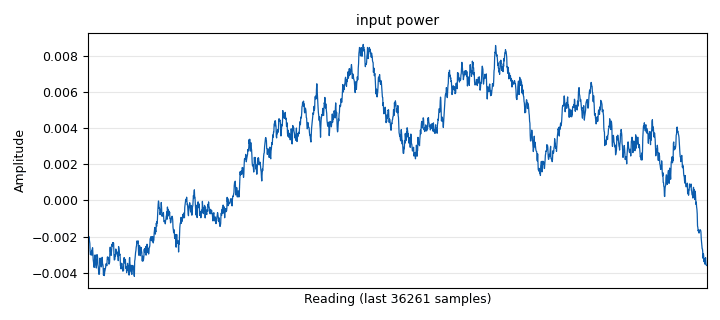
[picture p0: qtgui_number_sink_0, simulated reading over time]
<?xml version='1.0' encoding='utf-8'?>
<?grc format='1' created='3.7.12'?>
<flow_graph>
<block>
<key>options</key>
<param><key>id</key><value>test_filter_gain</value></param>
<param><key>author</key><value>Felix Wunsch</value></param>
<param><key>generate_options</key><value>qt_gui</value></param>
</block>
<block>
<key>variable</key>
<param><key>id</key><value>c_data_nrz</value></param>
<param><key>value</key><value>lpwan.dsss_codes().generate_gold_code_f(data_seed, SF)</value></param>
</block>
<block>
<key>variable</key>
<param><key>id</key><value>c_data_nrz_upsampled</value></param>
<param><key>value</key><value>[c if i==0 else 0 for c in c_data_nrz for i in range(sps)]</value></param>
</block>
<block>
<key>variable</key>
<param><key>id</key><value>c_data_shaped</value></param>
<param><key>value</key><value>np.convolve(c_data_nrz_upsampled, pulse_normalized) / np.sqrt(SF)</value></param>
</block>
<block>
<key>variable_qtgui_range</key>
<param><key>id</key><value>input_power_dB</value></param>
<param><key>value</key><value>0</value></param>
<param><key>orient</key><value>Qt.Horizontal</value></param>
<param><key>start</key><value>-10</value></param>
<param><key>step</key><value>1</value></param>
<param><key>stop</key><value>20</value></param>
</block>
<block>
<key>variable_rrc_filter_taps</key>
<param><key>id</key><value>pulse</value></param>
<param><key>alpha</key><value>1.0</value></param>
<param><key>gain</key><value>1</value></param>
<param><key>ntaps</key><value>11 * sps</value></param>
<param><key>samp_rate</key><value>sps</value></param>
<param><key>sym_rate</key><value>1</value></param>
</block>
<block>
<key>variable</key>
<param><key>id</key><value>pulse_normalized</value></param>
<param><key>value</key><value>pulse / np.sqrt(pulse_power)</value></param>
</block>
<block>
<key>variable</key>
<param><key>id</key><value>pulse_power</value></param>
<param><key>value</key><value>np.sum(np.abs(pulse)**2)</value></param>
</block>
<block>
<key>variable</key>
<param><key>id</key><value>samp_rate</value></param>
<param><key>_enabled</key><value>0</value></param>
<param><key>value</key><value>32000</value></param>
</block>
<block>
<key>variable</key>
<param><key>id</key><value>shr</value></param>
<param><key>comment</key><value>4 byte preamble, no SFD</value></param>
<param><key>value</key><value>lpwan.dsss_const.preamble32</value></param>
</block>
<block>
<key>variable_qtgui_range</key>
<param><key>id</key><value>sps</value></param>
<param><key>value</key><value>4</value></param>
<param><key>orient</key><value>Qt.Horizontal</value></param>
<param><key>start</key><value>1</value></param>
<param><key>step</key><value>1</value></param>
<param><key>stop</key><value>32</value></param>
<param><key>rangeType</key><value>int</value></param>
</block>
<block>
<key>variable_qtgui_range</key>
<param><key>id</key><value>threshold_offset_dB</value></param>
<param><key>value</key><value>0</value></param>
<param><key>orient</key><value>Qt.Horizontal</value></param>
<param><key>start</key><value>-10</value></param>
<param><key>step</key><value>1</value></param>
<param><key>stop</key><value>20</value></param>
</block>
<block>
<key>parameter</key>
<param><key>id</key><value>SF</value></param>
<param><key>label</key><value>spreading factor</value></param>
<param><key>short_id</key><value>s</value></param>
<param><key>type</key><value>intx</value></param>
<param><key>value</key><value>2**8</value></param>
</block>
<block>
<key>analog_const_source_x</key>
<param><key>id</key><value>analog_const_source_x_0</value></param>
<param><key>const</key><value>10**(input_power_dB/10)</value></param>
<param><key>type</key><value>float</value></param>
</block>
<block>
<key>analog_noise_source_x</key>
<param><key>id</key><value>analog_noise_source_x_0</value></param>
<param><key>amp</key><value>10**(input_power_dB/20)</value></param>
<param><key>noise_type</key><value>analog.GR_GAUSSIAN</value></param>
<param><key>type</key><value>complex</value></param>
<param><key>seed</key><value>0</value></param>
</block>
<block>
<key>blocks_complex_to_mag</key>
<param><key>id</key><value>blocks_complex_to_mag_0</value></param>
</block>
<block>
<key>blocks_complex_to_mag_squared</key>
<param><key>id</key><value>blocks_complex_to_mag_squared_0</value></param>
</block>
<block>
<key>blocks_complex_to_mag_squared</key>
<param><key>id</key><value>blocks_complex_to_mag_squared_0_0</value></param>
<param><key>_enabled</key><value>0</value></param>
</block>
<block>
<key>blocks_complex_to_mag_squared</key>
<param><key>id</key><value>blocks_complex_to_mag_squared_0_0_0</value></param>
</block>
<block>
<key>blocks_file_sink</key>
<param><key>id</key><value>blocks_file_sink_0</value></param>
<param><key>_enabled</key><value>0</value></param>
<param><key>file</key><value>/home/wunsch/code/gr-lpwan/examples/SpaRSe/preamble_correlation.bin</value></param>
<param><key>type</key><value>float</value></param>
<param><key>unbuffered</key><value>True</value></param>
</block>
<block>
<key>blocks_file_sink</key>
<param><key>id</key><value>blocks_file_sink_0_0</value></param>
<param><key>_enabled</key><value>0</value></param>
<param><key>file</key><value>/home/wunsch/code/gr-lpwan/examples/SpaRSe/demod_softbits.bin</value></param>
<param><key>type</key><value>float</value></param>
<param><key>unbuffered</key><value>True</value></param>
</block>
<block>
<key>blocks_file_sink</key>
<param><key>id</key><value>blocks_file_sink_0_1</value></param>
<param><key>_enabled</key><value>0</value></param>
<param><key>file</key><value>/home/wunsch/code/gr-lpwan/examples/SpaRSe/despreading_filter.bin</value></param>
<param><key>type</key><value>complex</value></param>
<param><key>unbuffered</key><value>True</value></param>
</block>
<block>
<key>blocks_head</key>
<param><key>id</key><value>blocks_head_0</value></param>
<param><key>_enabled</key><value>0</value></param>
<param><key>num_items</key><value>1000000</value></param>
<param><key>type</key><value>float</value></param>
</block>
<block>
<key>blocks_head</key>
<param><key>id</key><value>blocks_head_0_0</value></param>
<param><key>_enabled</key><value>0</value></param>
<param><key>num_items</key><value>1000000</value></param>
<param><key>type</key><value>float</value></param>
</block>
<block>
<key>blocks_head</key>
<param><key>id</key><value>blocks_head_0_1</value></param>
<param><key>_enabled</key><value>0</value></param>
<param><key>num_items</key><value>1000000</value></param>
<param><key>type</key><value>complex</value></param>
</block>
<block>
<key>blocks_moving_average_xx</key>
<param><key>id</key><value>blocks_moving_average_xx_0</value></param>
<param><key>length</key><value>100000</value></param>
<param><key>max_iter</key><value>4000</value></param>
<param><key>scale</key><value>1.0/1e5</value></param>
<param><key>type</key><value>float</value></param>
</block>
<block>
<key>blocks_moving_average_xx</key>
<param><key>id</key><value>blocks_moving_average_xx_0_0</value></param>
<param><key>_enabled</key><value>0</value></param>
<param><key>length</key><value>1000000</value></param>
<param><key>max_iter</key><value>4000</value></param>
<param><key>scale</key><value>1.0/1000000</value></param>
<param><key>type</key><value>float</value></param>
</block>
<block>
<key>blocks_moving_average_xx</key>
<param><key>id</key><value>blocks_moving_average_xx_0_0_0</value></param>
<param><key>length</key><value>100000</value></param>
<param><key>max_iter</key><value>4000</value></param>
<param><key>scale</key><value>1.0/100000</value></param>
<param><key>type</key><value>float</value></param>
</block>
<block>
<key>blocks_moving_average_xx</key>
<param><key>id</key><value>blocks_moving_average_xx_0_0_0_0_0</value></param>
<param><key>length</key><value>100000</value></param>
<param><key>max_iter</key><value>4000</value></param>
<param><key>scale</key><value>1.0/100000</value></param>
<param><key>type</key><value>float</value></param>
</block>
<block>
<key>blocks_moving_average_xx</key>
<param><key>id</key><value>blocks_moving_average_xx_0_0_0_0_0_0</value></param>
<param><key>length</key><value>100000</value></param>
<param><key>max_iter</key><value>4000</value></param>
<param><key>scale</key><value>1.0/100000</value></param>
<param><key>type</key><value>float</value></param>
</block>
<block>
<key>blocks_multiply_const_vxx</key>
<param><key>id</key><value>blocks_multiply_const_vxx_0</value></param>
<param><key>const</key><value>np.sqrt(0.5)</value></param>
<param><key>type</key><value>float</value></param>
</block>
<block>
<key>blocks_multiply_const_vxx</key>
<param><key>id</key><value>blocks_multiply_const_vxx_1</value></param>
<param><key>const</key><value>10**(threshold_offset_dB/10)</value></param>
<param><key>type</key><value>float</value></param>
</block>
<block>
<key>blocks_multiply_xx</key>
<param><key>id</key><value>blocks_multiply_xx_0_0</value></param>
<param><key>type</key><value>float</value></param>
</block>
<block>
<key>blocks_multiply_xx</key>
<param><key>id</key><value>blocks_multiply_xx_0_0_0</value></param>
<param><key>type</key><value>float</value></param>
</block>
<block>
<key>blocks_nlog10_ff</key>
<param><key>id</key><value>blocks_nlog10_ff_0</value></param>
<param><key>k</key><value>0</value></param>
<param><key>n</key><value>10</value></param>
</block>
<block>
<key>blocks_nlog10_ff</key>
<param><key>id</key><value>blocks_nlog10_ff_0_0</value></param>
<param><key>_enabled</key><value>0</value></param>
<param><key>k</key><value>0</value></param>
<param><key>n</key><value>10</value></param>
</block>
<block>
<key>blocks_nlog10_ff</key>
<param><key>id</key><value>blocks_nlog10_ff_0_0_0</value></param>
<param><key>k</key><value>0</value></param>
<param><key>n</key><value>10</value></param>
</block>
<block>
<key>blocks_nlog10_ff</key>
<param><key>id</key><value>blocks_nlog10_ff_0_0_0_0</value></param>
<param><key>k</key><value>0</value></param>
<param><key>n</key><value>10</value></param>
</block>
<block>
<key>blocks_nlog10_ff</key>
<param><key>id</key><value>blocks_nlog10_ff_0_0_0_1</value></param>
<param><key>k</key><value>0</value></param>
<param><key>n</key><value>10</value></param>
</block>
<block>
<key>blocks_stream_to_tagged_stream</key>
<param><key>id</key><value>blocks_stream_to_tagged_stream_0_0</value></param>
<param><key>len_tag_key</key><value>"packet_len"</value></param>
<param><key>minoutbuf</key><value>10000</value></param>
<param><key>packet_len</key><value>10000</value></param>
<param><key>type</key><value>complex</value></param>
</block>
<block>
<key>parameter</key>
<param><key>id</key><value>data_seed</value></param>
<param><key>label</key><value>data goldcode seed</value></param>
<param><key>type</key><value>intx</value></param>
<param><key>value</key><value>2345432</value></param>
</block>
<block>
<key>fir_filter_xxx</key>
<param><key>id</key><value>fir_filter_xxx_0</value></param>
<param><key>decim</key><value>sps * SF</value></param>
<param><key>taps</key><value>c_data_shaped</value></param>
<param><key>type</key><value>ccc</value></param>
</block>
<block>
<key>import</key>
<param><key>id</key><value>import_0_0</value></param>
<param><key>import</key><value>import numpy as np</value></param>
</block>
<block>
<key>import</key>
<param><key>id</key><value>import_0_2</value></param>
<param><key>import</key><value>import lpwan</value></param>
</block>
<block>
<key>interp_fir_filter_xxx</key>
<param><key>id</key><value>interp_fir_filter_xxx_0</value></param>
<param><key>_enabled</key><value>0</value></param>
<param><key>interp</key><value>1</value></param>
<param><key>taps</key><value>np.conj(np.flipud(c_data_shaped))</value></param>
<param><key>type</key><value>ccc</value></param>
</block>
<block>
<key>interp_fir_filter_xxx</key>
<param><key>id</key><value>interp_fir_filter_xxx_1</value></param>
<param><key>interp</key><value>1</value></param>
<param><key>taps</key><value>(np.array(shr, dtype=float) * 2 - 1) / np.sqrt(len(shr))</value></param>
<param><key>type</key><value>fff</value></param>
</block>
<block>
<key>lpwan_fddsm_soft_demod_bpsk_cf</key>
<param><key>id</key><value>lpwan_fddsm_soft_demod_bpsk_cf_0_0</value></param>
<param><key>len_tag</key><value>"packet_len"</value></param>
<param><key>minoutbuf</key><value>100000</value></param>
<param><key>packet_len_coded_bits</key><value>10000</value></param>
</block>
<block>
<key>qtgui_number_sink</key>
<param><key>id</key><value>qtgui_number_sink_0</value></param>
<param><key>graph_type</key><value>qtgui.NUM_GRAPH_HORIZ</value></param>
<param><key>type</key><value>float</value></param>
<param><key>name</key><value>"input power"</value></param>
</block>
<block>
<key>qtgui_number_sink</key>
<param><key>id</key><value>qtgui_number_sink_0_0</value></param>
<param><key>_enabled</key><value>0</value></param>
<param><key>graph_type</key><value>qtgui.NUM_GRAPH_HORIZ</value></param>
<param><key>type</key><value>float</value></param>
<param><key>name</key><value>"output power"</value></param>
</block>
<block>
<key>qtgui_number_sink</key>
<param><key>id</key><value>qtgui_number_sink_0_0_0</value></param>
<param><key>graph_type</key><value>qtgui.NUM_GRAPH_HORIZ</value></param>
<param><key>type</key><value>float</value></param>
<param><key>name</key><value>"FIR output power"</value></param>
</block>
<block>
<key>qtgui_number_sink</key>
<param><key>id</key><value>qtgui_number_sink_0_0_0_0_0</value></param>
<param><key>graph_type</key><value>qtgui.NUM_GRAPH_HORIZ</value></param>
<param><key>type</key><value>float</value></param>
<param><key>name</key><value>"Demod output power (correlated due to FIR)"</value></param>
</block>
<block>
<key>qtgui_number_sink</key>
<param><key>id</key><value>qtgui_number_sink_0_0_0_0_0_0</value></param>
<param><key>graph_type</key><value>qtgui.NUM_GRAPH_HORIZ</value></param>
<param><key>type</key><value>float</value></param>
<param><key>name</key><value>"Preamble corr output power"</value></param>
</block>
<block>
<key>qtgui_time_sink_x</key>
<param><key>id</key><value>qtgui_time_sink_x_0</value></param>
<param><key>autoscale</key><value>True</value></param>
<param><key>color1</key><value>"blue"</value></param>
<param><key>label1</key><value></value></param>
<param><key>size</key><value>SF * 10</value></param>
<param><key>srate</key><value>1</value></param>
<param><key>type</key><value>float</value></param>
</block>
<block>
<key>qtgui_time_sink_x</key>
<param><key>id</key><value>qtgui_time_sink_x_0_0</value></param>
<param><key>color1</key><value>"blue"</value></param>
<param><key>label1</key><value></value></param>
<param><key>name</key><value>"Demod output (0dB input from FIR)"</value></param>
<param><key>size</key><value>1024</value></param>
<param><key>srate</key><value>1</value></param>
<param><key>type</key><value>float</value></param>
<param><key>ymax</key><value>10</value></param>
<param><key>ymin</key><value>-10</value></param>
</block>
<block>
<key>qtgui_time_sink_x</key>
<param><key>id</key><value>qtgui_time_sink_x_0_0_0</value></param>
<param><key>color1</key><value>"blue"</value></param>
<param><key>label1</key><value>correlation</value></param>
<param><key>color2</key><value>"red"</value></param>
<param><key>label2</key><value>threshold</value></param>
<param><key>name</key><value>"Preamble correlation and threshold"</value></param>
<param><key>nconnections</key><value>2</value></param>
<param><key>size</key><value>1024</value></param>
<param><key>srate</key><value>1</value></param>
<param><key>type</key><value>float</value></param>
<param><key>ymax</key><value>10</value></param>
<param><key>ymin</key><value>-10</value></param>
</block>
<block>
<key>root_raised_cosine_filter</key>
<param><key>id</key><value>root_raised_cosine_filter_0</value></param>
<param><key>alpha</key><value>1</value></param>
<param><key>_enabled</key><value>0</value></param>
<param><key>type</key><value>interp_fir_filter_ccf</value></param>
<param><key>gain</key><value>1</value></param>
<param><key>interp</key><value>1</value></param>
<param><key>ntaps</key><value>11*sps</value></param>
<param><key>samp_rate</key><value>sps</value></param>
<param><key>sym_rate</key><value>1.0</value></param>
</block>
<block>
<key>single_pole_iir_filter_xx</key>
<param><key>id</key><value>single_pole_iir_filter_xx_0</value></param>
<param><key>alpha</key><value>.000001</value></param>
<param><key>_enabled</key><value>2</value></param>
<param><key>type</key><value>float</value></param>
</block>
<block>
<key>single_pole_iir_filter_xx</key>
<param><key>id</key><value>single_pole_iir_filter_xx_0_0</value></param>
<param><key>alpha</key><value>.00001</value></param>
<param><key>_enabled</key><value>0</value></param>
<param><key>type</key><value>float</value></param>
</block>
<connection><source_block_id>analog_const_source_x_0</source_block_id><sink_block_id>blocks_multiply_const_vxx_1</sink_block_id><source_key>0</source_key><sink_key>0</sink_key></connection>
<connection><source_block_id>analog_noise_source_x_0</source_block_id><sink_block_id>blocks_complex_to_mag_squared_0</sink_block_id><source_key>0</source_key><sink_key>0</sink_key></connection>
<connection><source_block_id>analog_noise_source_x_0</source_block_id><sink_block_id>fir_filter_xxx_0</sink_block_id><source_key>0</source_key><sink_key>0</sink_key></connection>
<connection><source_block_id>analog_noise_source_x_0</source_block_id><sink_block_id>interp_fir_filter_xxx_0</sink_block_id><source_key>0</source_key><sink_key>0</sink_key></connection>
<connection><source_block_id>analog_noise_source_x_0</source_block_id><sink_block_id>root_raised_cosine_filter_0</sink_block_id><source_key>0</source_key><sink_key>0</sink_key></connection>
<connection><source_block_id>blocks_complex_to_mag_0</source_block_id><sink_block_id>qtgui_time_sink_x_0</sink_block_id><source_key>0</source_key><sink_key>0</sink_key></connection>
<connection><source_block_id>blocks_complex_to_mag_squared_0</source_block_id><sink_block_id>blocks_moving_average_xx_0</sink_block_id><source_key>0</source_key><sink_key>0</sink_key></connection>
<connection><source_block_id>blocks_complex_to_mag_squared_0_0</source_block_id><sink_block_id>blocks_moving_average_xx_0_0</sink_block_id><source_key>0</source_key><sink_key>0</sink_key></connection>
<connection><source_block_id>blocks_complex_to_mag_squared_0_0_0</source_block_id><sink_block_id>blocks_moving_average_xx_0_0_0</sink_block_id><source_key>0</source_key><sink_key>0</sink_key></connection>
<connection><source_block_id>blocks_head_0</source_block_id><sink_block_id>blocks_file_sink_0</sink_block_id><source_key>0</source_key><sink_key>0</sink_key></connection>
<connection><source_block_id>blocks_head_0_0</source_block_id><sink_block_id>blocks_file_sink_0_0</sink_block_id><source_key>0</source_key><sink_key>0</sink_key></connection>
<connection><source_block_id>blocks_head_0_1</source_block_id><sink_block_id>blocks_file_sink_0_1</sink_block_id><source_key>0</source_key><sink_key>0</sink_key></connection>
<connection><source_block_id>blocks_moving_average_xx_0</source_block_id><sink_block_id>single_pole_iir_filter_xx_0</sink_block_id><source_key>0</source_key><sink_key>0</sink_key></connection>
<connection><source_block_id>blocks_moving_average_xx_0_0</source_block_id><sink_block_id>single_pole_iir_filter_xx_0_0</sink_block_id><source_key>0</source_key><sink_key>0</sink_key></connection>
<connection><source_block_id>blocks_moving_average_xx_0_0_0</source_block_id><sink_block_id>blocks_nlog10_ff_0_0_0</sink_block_id><source_key>0</source_key><sink_key>0</sink_key></connection>
<connection><source_block_id>blocks_moving_average_xx_0_0_0_0_0</source_block_id><sink_block_id>blocks_nlog10_ff_0_0_0_0</sink_block_id><source_key>0</source_key><sink_key>0</sink_key></connection>
<connection><source_block_id>blocks_moving_average_xx_0_0_0_0_0_0</source_block_id><sink_block_id>blocks_nlog10_ff_0_0_0_1</sink_block_id><source_key>0</source_key><sink_key>0</sink_key></connection>
<connection><source_block_id>blocks_multiply_const_vxx_0</source_block_id><sink_block_id>blocks_head_0_0</sink_block_id><source_key>0</source_key><sink_key>0</sink_key></connection>
<connection><source_block_id>blocks_multiply_const_vxx_0</source_block_id><sink_block_id>blocks_multiply_xx_0_0</sink_block_id><source_key>0</source_key><sink_key>0</sink_key></connection>
<connection><source_block_id>blocks_multiply_const_vxx_0</source_block_id><sink_block_id>blocks_multiply_xx_0_0</sink_block_id><source_key>0</source_key><sink_key>1</sink_key></connection>
<connection><source_block_id>blocks_multiply_const_vxx_0</source_block_id><sink_block_id>interp_fir_filter_xxx_1</sink_block_id><source_key>0</source_key><sink_key>0</sink_key></connection>
<connection><source_block_id>blocks_multiply_const_vxx_1</source_block_id><sink_block_id>qtgui_time_sink_x_0_0_0</sink_block_id><source_key>0</source_key><sink_key>1</sink_key></connection>
<connection><source_block_id>blocks_multiply_xx_0_0</source_block_id><sink_block_id>blocks_moving_average_xx_0_0_0_0_0</sink_block_id><source_key>0</source_key><sink_key>0</sink_key></connection>
<connection><source_block_id>blocks_multiply_xx_0_0_0</source_block_id><sink_block_id>blocks_moving_average_xx_0_0_0_0_0_0</sink_block_id><source_key>0</source_key><sink_key>0</sink_key></connection>
<connection><source_block_id>blocks_nlog10_ff_0</source_block_id><sink_block_id>qtgui_number_sink_0</sink_block_id><source_key>0</source_key><sink_key>0</sink_key></connection>
<connection><source_block_id>blocks_nlog10_ff_0_0</source_block_id><sink_block_id>qtgui_number_sink_0_0</sink_block_id><source_key>0</source_key><sink_key>0</sink_key></connection>
<connection><source_block_id>blocks_nlog10_ff_0_0_0</source_block_id><sink_block_id>qtgui_number_sink_0_0_0</sink_block_id><source_key>0</source_key><sink_key>0</sink_key></connection>
<connection><source_block_id>blocks_nlog10_ff_0_0_0_0</source_block_id><sink_block_id>qtgui_number_sink_0_0_0_0_0</sink_block_id><source_key>0</source_key><sink_key>0</sink_key></connection>
<connection><source_block_id>blocks_nlog10_ff_0_0_0_1</source_block_id><sink_block_id>qtgui_number_sink_0_0_0_0_0_0</sink_block_id><source_key>0</source_key><sink_key>0</sink_key></connection>
<connection><source_block_id>blocks_stream_to_tagged_stream_0_0</source_block_id><sink_block_id>lpwan_fddsm_soft_demod_bpsk_cf_0_0</sink_block_id><source_key>0</source_key><sink_key>0</sink_key></connection>
<connection><source_block_id>fir_filter_xxx_0</source_block_id><sink_block_id>blocks_complex_to_mag_0</sink_block_id><source_key>0</source_key><sink_key>0</sink_key></connection>
<connection><source_block_id>fir_filter_xxx_0</source_block_id><sink_block_id>blocks_complex_to_mag_squared_0_0_0</sink_block_id><source_key>0</source_key><sink_key>0</sink_key></connection>
<connection><source_block_id>fir_filter_xxx_0</source_block_id><sink_block_id>blocks_head_0_1</sink_block_id><source_key>0</source_key><sink_key>0</sink_key></connection>
<connection><source_block_id>fir_filter_xxx_0</source_block_id><sink_block_id>blocks_stream_to_tagged_stream_0_0</sink_block_id><source_key>0</source_key><sink_key>0</sink_key></connection>
<connection><source_block_id>interp_fir_filter_xxx_0</source_block_id><sink_block_id>blocks_complex_to_mag_squared_0_0</sink_block_id><source_key>0</source_key><sink_key>0</sink_key></connection>
<connection><source_block_id>interp_fir_filter_xxx_1</source_block_id><sink_block_id>blocks_head_0</sink_block_id><source_key>0</source_key><sink_key>0</sink_key></connection>
<connection><source_block_id>interp_fir_filter_xxx_1</source_block_id><sink_block_id>blocks_multiply_xx_0_0_0</sink_block_id><source_key>0</source_key><sink_key>0</sink_key></connection>
<connection><source_block_id>interp_fir_filter_xxx_1</source_block_id><sink_block_id>blocks_multiply_xx_0_0_0</sink_block_id><source_key>0</source_key><sink_key>1</sink_key></connection>
<connection><source_block_id>interp_fir_filter_xxx_1</source_block_id><sink_block_id>qtgui_time_sink_x_0_0_0</sink_block_id><source_key>0</source_key><sink_key>0</sink_key></connection>
<connection><source_block_id>lpwan_fddsm_soft_demod_bpsk_cf_0_0</source_block_id><sink_block_id>blocks_multiply_const_vxx_0</sink_block_id><source_key>0</source_key><sink_key>0</sink_key></connection>
<connection><source_block_id>lpwan_fddsm_soft_demod_bpsk_cf_0_0</source_block_id><sink_block_id>qtgui_time_sink_x_0_0</sink_block_id><source_key>0</source_key><sink_key>0</sink_key></connection>
<connection><source_block_id>root_raised_cosine_filter_0</source_block_id><sink_block_id>blocks_complex_to_mag_squared_0_0</sink_block_id><source_key>0</source_key><sink_key>0</sink_key></connection>
<connection><source_block_id>single_pole_iir_filter_xx_0</source_block_id><sink_block_id>blocks_nlog10_ff_0</sink_block_id><source_key>0</source_key><sink_key>0</sink_key></connection>
<connection><source_block_id>single_pole_iir_filter_xx_0_0</source_block_id><sink_block_id>blocks_nlog10_ff_0_0</sink_block_id><source_key>0</source_key><sink_key>0</sink_key></connection>
</flow_graph>
